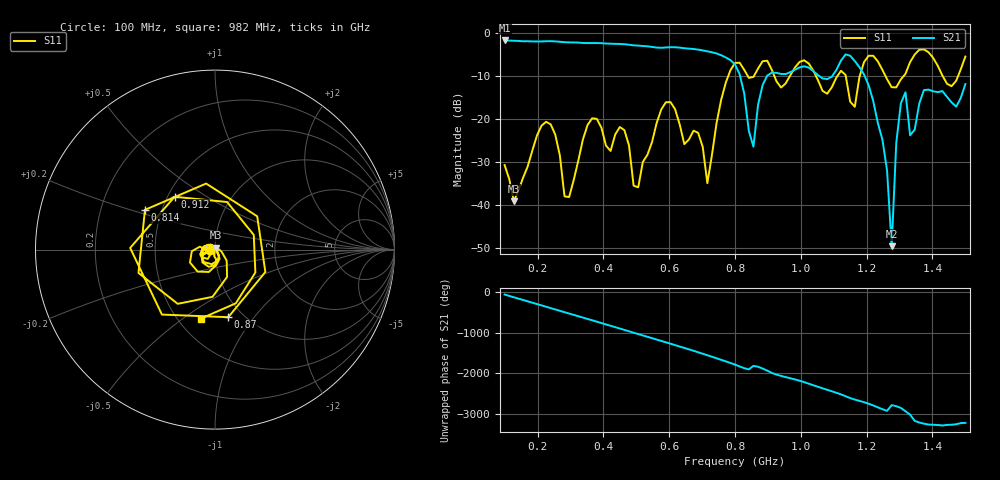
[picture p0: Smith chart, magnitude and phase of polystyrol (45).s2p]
! NanoVNA-App
! Date: 2025-09-25 15:30:14
! Start: 100MHz Stop: 1,5GHz Points: 101
! S-Parameter data: F S11 S21 S12 S22
# Hz S RI R 50
!  Frequency  S11_Real  S11_Imag  S21_Real  S21_Imag  S12_Real  S12_Imag  S22_Real  S22_Imag
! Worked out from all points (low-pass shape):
!   101 points, 100 MHz to 1.5 GHz, reference 50 ohm
!   highest |S21| = -1.80 dB at 100 MHz (marker M1); lowest = -49.5 dB at 1.276 GHz (marker M2)
!   |S21| within 3 dB of the highest: start of sweep to 743.2 MHz
!   lowest |S11| = -39.1 dB at 128 MHz (marker M3), VSWR 1.02, Z = 50.3 + j1.07 ohm
!   |S11| at or under -10 dB: start of sweep to 779.7 MHz; 1.046 GHz to 1.112 GHz (65.95 MHz wide, 6.11 % of centre); 1.257 GHz to 1.313 GHz (55.99 MHz wide, 4.36 % of centre) (the widest 3 of 7)
!   S12 and S22 are empty: the file has one direction only
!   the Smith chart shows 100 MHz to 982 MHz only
!   S11 on the Smith chart (normalised r, x): 100 MHz: 0.94, -0.01; 814 MHz: 0.40, +0.22; 870 MHz: 0.85, -0.75; 912 MHz: 0.54, +0.37; 982 MHz: 0.64, -0.59
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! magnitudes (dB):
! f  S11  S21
! 100 MHz  -30.7  -1.8
! 128 MHz  -39.1  -1.9
! 212 MHz  -21.6  -2.0
! 282 MHz  -38.0  -2.2
! 338 MHz  -24.7  -2.4
! 464 MHz  -22.6  -2.7
! 506 MHz  -35.9  -3.0
! 576 MHz  -17.8  -3.5
! 716 MHz  -34.9  -4.3
! 800 MHz  -7.0  -7.4
! 814 MHz  -7.0  -9.6
! 856 MHz  -10.3  -26.4
! 870 MHz  -8.3  -16.7
! 912 MHz  -8.6  -9.3
! 982 MHz  -8.1  -8.6
! 1.038 GHz  -8.8  -8.9
! 1.192 GHz  -6.8  -9.7
! 1.248 GHz  -8.6  -24.9
! 1.276 GHz  -12.6  -49.5
! 1.29 GHz  -12.7  -25.5
! 1.318 GHz  -9.5  -13.8
! 1.5 GHz  -5.5  -11.9
